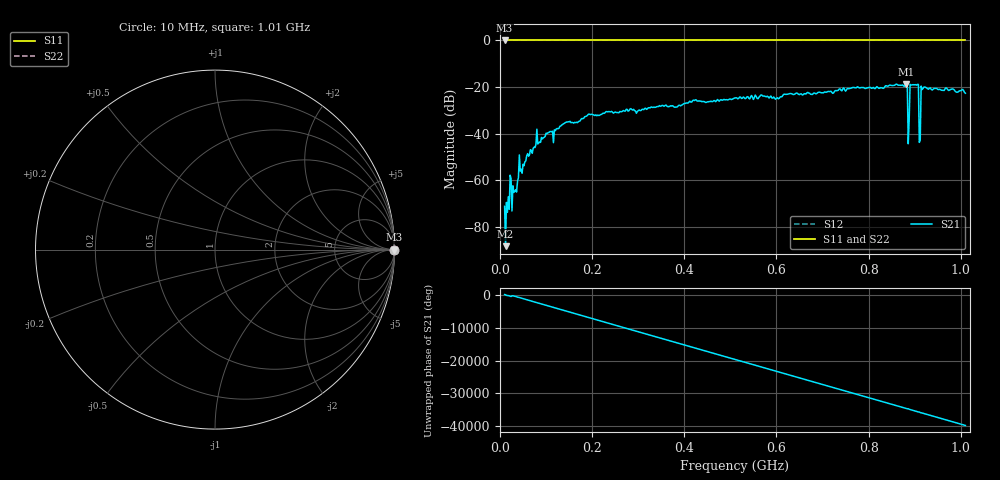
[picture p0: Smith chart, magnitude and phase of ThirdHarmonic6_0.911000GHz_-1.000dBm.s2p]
! 8/16/2025 5:49:23 AM
! C:\ANRITSUVNA\TEMP\TEMP.S2P
! CHANNEL.1
! TR.MEASUREMENT
! RAW.DATA
! RF.CORRECTION.OFF
! AVERAGING.OFF
! IF.BANDWIDTH: 5KHZ
! SWEEPTYPE:  FREQ.SWEEP(Linear)
! Reference Plane Port Info
! PORT:  PORT1  PORT2
! DISTANCE:  0  m  0  m
! TIME:  0  s  0  s
! PHASE.OFFSET:  0  deg.  0  deg.
! LOSS:  0  dB  0  dB
! REF.LOSS:  0  dB  0  dB
! REF.FREQ:  0  Hz  0  Hz
! Power Info
! POWER:  -20  dBm  -20  dBm
! EFF.POWER:  -20  dBm  -20  dBm
! SOURCE.ATTEN:  0  dB  0  dB
! TEST.ATTEN:  0  dB  0  dB
# GHZ S RI R 50.0
! FREQ.GHZ  S11RE  S11IM  S21RE  S21IM  S12RE  S12IM  S22RE  S22IM
!; PortSelection: Port_12
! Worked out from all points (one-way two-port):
!   501 points, 10 MHz to 1.01 GHz, reference 50 ohm
!   highest |S21| = -18.73 dB at 882 MHz (marker M1); lowest = -88.4 dB at 12 MHz (marker M2)
!   lowest |S11| = 0.0 dB at 10 MHz (marker M3)
!   |S11| at or under -10 dB: nowhere
!   |S22| runs from 0.0 to 0.0 dB; largest |S21 - S12| = 1.1
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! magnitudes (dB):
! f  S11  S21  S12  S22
! 10 MHz  0.0  -71.3  0.0  0.0
! 12 MHz  0.0  -88.4  0.0  0.0
! 26 MHz  0.0  -73.3  0.0  0.0
! 30 MHz  0.0  -65.2  0.0  0.0
! 34 MHz  0.0  -64.1  0.0  0.0
! 46 MHz  0.0  -55.3  0.0  0.0
! 76 MHz  0.0  -46.0  0.0  0.0
! 178 MHz  0.0  -33.5  0.0  0.0
! 344 MHz  0.0  -28.4  0.0  0.0
! 510 MHz  0.0  -24.7  0.0  0.0
! 678 MHz  0.0  -23.2  0.0  0.0
! 844 MHz  0.0  -19.4  0.0  0.0
! 880 MHz  0.0  -18.8  0.0  0.0
! 882 MHz  0.0  -18.7  0.0  0.0
! 884 MHz  0.0  -20.4  0.0  0.0
! 890 MHz  0.0  -18.9  0.0  0.0
! 894 MHz  0.0  -19.1  0.0  0.0
! 904 MHz  0.0  -19.2  0.0  0.0
! 908 MHz  0.0  -18.9  0.0  0.0
! 914 MHz  0.0  -19.6  0.0  0.0
! 918 MHz  0.0  -20.7  0.0  0.0
! 1.01 GHz  0.0  -22.7  0.0  0.0
